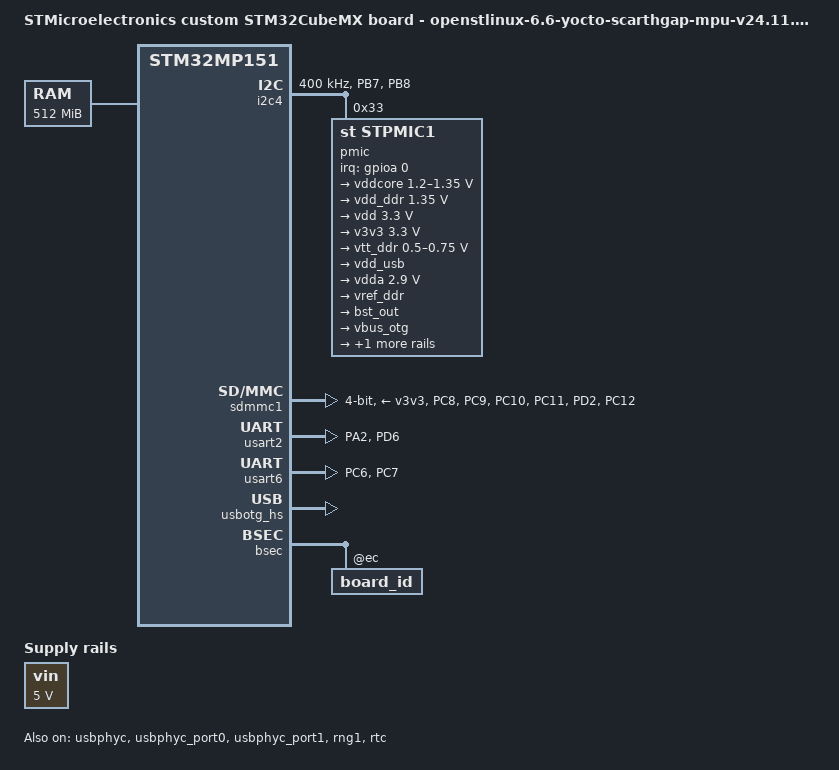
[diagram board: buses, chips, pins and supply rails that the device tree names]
// SPDX-License-Identifier: (GPL-2.0-or-later OR BSD-3-Clause)
/*
 * Copyright (C) 2025, STMicroelectronics - All Rights Reserved
 * Author: STM32CubeMX code generation for STMicroelectronics.
 */

/* For more information on Device Tree configuration, please refer to
 * https://wiki.st.com/stm32mpu/wiki/Category:Device_tree_configuration
 */

/dts-v1/;

#include <dt-bindings/pinctrl/stm32-pinfunc.h>
#include <dt-bindings/clock/stm32mp1-clksrc.h>
#include "stm32mp15-mx.dtsi"

#include "stm32mp151.dtsi"
#include "stm32mp15xa.dtsi"
#include "stm32mp15xxab-pinctrl.dtsi"
#include "stm32mp15-ddr.dtsi"

/* USER CODE BEGIN includes */
/* USER CODE END includes */

/ {
	model = "STMicroelectronics custom STM32CubeMX board - openstlinux-6.6-yocto-scarthgap-mpu-v24.11.06";
	compatible = "st,stm32mp151a-kaonic-mx", "st,stm32mp151";

	memory@c0000000 {
		device_type = "memory";
		reg = <0xc0000000 0x20000000>;

		/* USER CODE BEGIN memory */
		/* USER CODE END memory */
	};

	/* USER CODE BEGIN root */

	aliases {
		serial0 = &usart6;
		serial1 = &usart2;
	};

	chosen {
		stdout-path = "serial0:115200n8";
	};

	vin: vin {
		compatible = "regulator-fixed";
		regulator-name = "vin";
		regulator-min-microvolt = <5000000>;
		regulator-max-microvolt = <5000000>;
		regulator-always-on;
	};

	/* USER CODE END root */

	clocks {
		/* USER CODE BEGIN clocks */
		/* USER CODE END clocks */

		clk_hsi: clk-hsi {
			clock-frequency = <64000000>;

			/* USER CODE BEGIN clk_hsi */
			/* USER CODE END clk_hsi */
		};
		clk_lse: clk-lse {
			clock-frequency = <32768>;
			st,drive = < LSEDRV_MEDIUM_HIGH >;

			/* USER CODE BEGIN clk_lse */
			/* USER CODE END clk_lse */
		};
		clk_hse: clk-hse {
			clock-frequency = <24000000>;

			/* USER CODE BEGIN clk_hse */
			/* USER CODE END clk_hse */
		};
	};

}; /*root*/

&pinctrl {
	i2c4_pins_mx: i2c4_mx-0 {
		pins {
			pinmux = <STM32_PINMUX('B', 7, AF6)>, /* I2C4_SDA */
					 <STM32_PINMUX('B', 8, AF6)>; /* I2C4_SCL */
			bias-disable;
			drive-open-drain;
			slew-rate = <0>;
		};
	};

	sdmmc1_pins_mx: sdmmc1_mx-0 {
		pins1 {
			pinmux = <STM32_PINMUX('C', 8, AF12)>, /* SDMMC1_D0 */
					 <STM32_PINMUX('C', 9, AF12)>, /* SDMMC1_D1 */
					 <STM32_PINMUX('C', 10, AF12)>, /* SDMMC1_D2 */
					 <STM32_PINMUX('C', 11, AF12)>, /* SDMMC1_D3 */
					 <STM32_PINMUX('D', 2, AF12)>; /* SDMMC1_CMD */
			bias-disable;
			drive-push-pull;
			slew-rate = <1>;
		};
		pins2 {
			pinmux = <STM32_PINMUX('C', 12, AF12)>; /* SDMMC1_CK */
			bias-disable;
			drive-push-pull;
			slew-rate = <3>;
		};
	};

	usart2_pins_mx: usart2_mx-0 {
		pins1 {
			pinmux = <STM32_PINMUX('A', 2, AF7)>; /* USART2_TX */
			bias-disable;
			drive-push-pull;
			slew-rate = <0>;
		};
		pins2 {
			pinmux = <STM32_PINMUX('D', 6, AF7)>; /* USART2_RX */
			bias-disable;
		};
	};

	usart6_pins_mx: usart6_mx-0 {
		pins1 {
			pinmux = <STM32_PINMUX('C', 6, AF7)>; /* USART6_TX */
			bias-disable;
			drive-push-pull;
			slew-rate = <0>;
		};
		pins2 {
			pinmux = <STM32_PINMUX('C', 7, AF7)>; /* USART6_RX */
			bias-disable;
		};
	};

	/* USER CODE BEGIN pinctrl */
	/* USER CODE END pinctrl */
};

&pinctrl_z {
	/* USER CODE BEGIN pinctrl_z */
	/* USER CODE END pinctrl_z */
};

&i2c4 {
	pinctrl-names = "default";
	pinctrl-0 = <&i2c4_pins_mx>;
	status = "okay";

	/* USER CODE BEGIN i2c4 */

	clock-frequency = <400000>;
	i2c-scl-rising-time-ns = <185>;
	i2c-scl-falling-time-ns = <20>;

	pmic: stpmic@33 {
		compatible = "st,stpmic1";
		reg = <0x33>;
		interrupts-extended = <&gpioa 0 IRQ_TYPE_EDGE_FALLING>;
		interrupt-controller;
		#interrupt-cells = <2>;
		status = "okay";

		regulators {
			compatible = "st,stpmic1-regulators";

			buck1-supply = <&vin>;
			buck2-supply = <&vin>;
			buck3-supply = <&vin>;
			buck4-supply = <&vin>;

			ldo1-supply = <&v3v3>;
			ldo2-supply = <&vin>;
			ldo3-supply = <&vdd_ddr>;
			ldo4-supply = <&vin>;
			ldo5-supply = <&vin>;
			ldo6-supply = <&v3v3>;

			vref_ddr-supply = <&vin>;
			boost-supply = <&vin>;

			pwr_sw1-supply = <&bst_out>;
			pwr_sw2-supply = <&bst_out>;

			vddcore: buck1 {
				regulator-name = "vddcore";
				regulator-min-microvolt = <1200000>;
				regulator-max-microvolt = <1350000>;
				regulator-always-on;
				regulator-initial-mode = <0>;
				regulator-over-current-protection;
			};

			vdd_ddr: buck2 {
				regulator-name = "vdd_ddr";
				regulator-min-microvolt = <1350000>;
				regulator-max-microvolt = <1350000>;
				regulator-always-on;
				regulator-initial-mode = <0>;
				regulator-over-current-protection;
			};

			vdd: buck3 {
				regulator-name = "vdd";
				regulator-min-microvolt = <3300000>;
				regulator-max-microvolt = <3300000>;
				regulator-always-on;
				st,mask-reset;
				regulator-initial-mode = <0>;
				regulator-over-current-protection;
			};

			v3v3: buck4 {
				regulator-name = "v3v3";
				regulator-min-microvolt = <3300000>;
				regulator-max-microvolt = <3300000>;
				regulator-always-on;
				regulator-over-current-protection;
				regulator-initial-mode = <0>;
			};

			vtt_ddr: ldo3 {
				regulator-name = "vtt_ddr";
				regulator-min-microvolt = <500000>;
				regulator-max-microvolt = <750000>;
				regulator-always-on;
				regulator-over-current-protection;
			};

			vdd_usb: ldo4 {
				regulator-name = "vdd_usb";
			};

			vdda: ldo5 {
				regulator-name = "vdda";
				regulator-min-microvolt = <2900000>;
				regulator-max-microvolt = <2900000>;
				regulator-boot-on;
			};

			vref_ddr: vref-ddr {
				regulator-name = "vref_ddr";
				regulator-always-on;
			};

			bst_out: boost {
				regulator-name = "bst_out";
			};

			vbus_otg: pwr-sw1 {
				regulator-name = "vbus_otg";
			};

			vbus_sw: pwr-sw2 {
				regulator-name = "vbus_sw";
				regulator-active-discharge = <1>;
			};
		};
	};


	/* USER CODE END i2c4 */
};

&rcc {
	status = "okay";

	/* USER CODE BEGIN rcc */
	/* USER CODE END rcc */

	st,clksrc = <
		CLK_CKPER_DISABLED
		CLK_SDMMC12_HCLK6
		CLK_STGEN_HSI
		CLK_I2C46_PCLK5
		CLK_USBO_PLL4R
		CLK_UART24_PCLK1
		CLK_UART6_PCLK2
		CLK_MPU_PLL1P
		CLK_AXI_HSE
		CLK_MCU_PLL3P
	>;
	st,clkdiv = <
		DIV(DIV_MPU, 1)
		DIV(DIV_AXI, 0)
		DIV(DIV_MCU, 0)
		DIV(DIV_APB1, 1)
		DIV(DIV_APB2, 1)
		DIV(DIV_APB3, 1)
		DIV(DIV_APB4, 0)
		DIV(DIV_APB5, 0)
		DIV(DIV_RTC, 0)
		DIV(DIV_MCO1, 0)
		DIV(DIV_MCO2, 0)
	>;
	st,pll_vco {
		pll2_vco_816Mhz: pll2-vco-816Mhz {
			src = < CLK_PLL12_HSE >;
			divmn = < 1 33 >;
		};
		pll3_vco_402Mhz: pll3-vco-402Mhz {
			src = < CLK_PLL3_HSE >;
			divmn = < 3 66 >;
		};
		pll4_vco_480Mhz: pll4-vco-480Mhz {
			src = < CLK_PLL4_HSE >;
			divmn = < 1 39 >;
		};
		/* USER CODE BEGIN rcc_st-pll_vco */
		/* USER CODE END rcc_st-pll_vco */
	};

	pll2:st,pll@1 {
		compatible = "st,stm32mp1-pll";
		reg = <1>;

		st,pll = < &pll2_cfg1 >;

		pll2_cfg1: pll2_cfg1 {
			st,pll_vco = < &pll2_vco_816Mhz >;
			st,pll_div_pqr = < 1 1 0 >;
		};
		/* USER CODE BEGIN pll2 */
		/* USER CODE END pll2 */
	};

	pll3:st,pll@2 {
		compatible = "st,stm32mp1-pll";
		reg = <2>;

		st,pll = < &pll3_cfg1 >;

		pll3_cfg1: pll3_cfg1 {
			st,pll_vco = < &pll3_vco_402Mhz >;
			st,pll_div_pqr = < 1 1 1 >;
		};
		/* USER CODE BEGIN pll3 */
		/* USER CODE END pll3 */
	};

	pll4:st,pll@3 {
		compatible = "st,stm32mp1-pll";
		reg = <3>;

		st,pll = < &pll4_cfg1 >;

		pll4_cfg1: pll4_cfg1 {
			st,pll_vco = < &pll4_vco_480Mhz >;
			st,pll_div_pqr = < 2 1 24 >;
		};
		/* USER CODE BEGIN pll4 */
		/* USER CODE END pll4 */
	};

};

&sdmmc1 {
	pinctrl-names = "default";
	pinctrl-0 = <&sdmmc1_pins_mx>;
	status = "okay";

	/* USER CODE BEGIN sdmmc1 */
	disable-wp;
	st,neg-edge;
	bus-width = <4>;
	vmmc-supply = <&v3v3>;
	/* USER CODE END sdmmc1 */
};

&usart2 {
	pinctrl-names = "default";
	pinctrl-0 = <&usart2_pins_mx>;
	status = "okay";

	/* USER CODE BEGIN usart2 */
	/* USER CODE END usart2 */
};

&usart6 {
	pinctrl-names = "default";
	pinctrl-0 = <&usart6_pins_mx>;
	status = "okay";

	/* USER CODE BEGIN usart6 */
	/* USER CODE END usart6 */
};

&usbotg_hs {
	status = "okay";

	/* USER CODE BEGIN usbotg_hs */
	/* USER CODE END usbotg_hs */
};

&usbphyc {
	status = "okay";

	/* USER CODE BEGIN usbphyc */
	/* USER CODE END usbphyc */
};

&usbphyc_port0 {
	status = "okay";

	/* USER CODE BEGIN usbphyc_port0 */
	phy-supply = <&vdd_usb>;
	/* USER CODE END usbphyc_port0 */
};

&usbphyc_port1 {
	status = "okay";

	/* USER CODE BEGIN usbphyc_port1 */
	phy-supply = <&vdd_usb>;
	/* USER CODE END usbphyc_port1 */
};

/* USER CODE BEGIN addons */

&bsec{

	board_id:board_id@ec{
		reg = <0xec 0x4>;
		st,non-secure-otp;
	};
};

&cpu0{
	cpu-supply = <&vddcore>;
};

&rng1{
	status = "okay";
};

&rtc{
	status = "okay";
};

/* USER CODE END addons */

